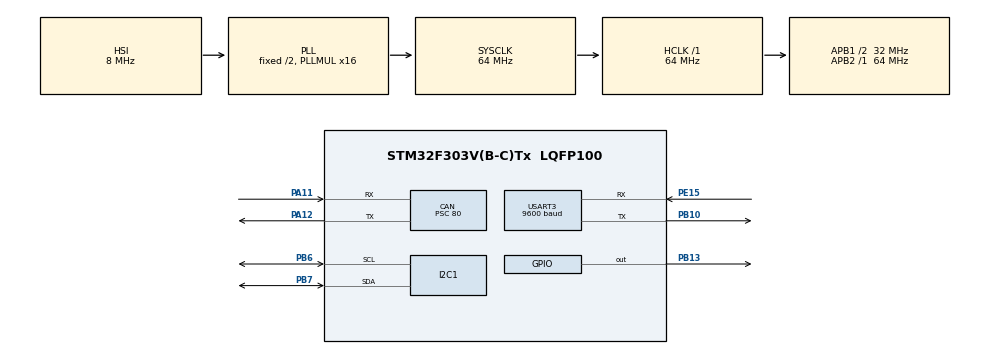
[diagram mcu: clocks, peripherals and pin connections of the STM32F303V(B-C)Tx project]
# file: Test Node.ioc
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CAN.ABOM=ENABLE
CAN.AWUM=ENABLE
CAN.BS1=CAN_BS1_6TQ
CAN.CalculateTimeQuantum=2500.0
CAN.Mode=CAN_MODE_NORMAL
CAN.NART=ENABLE
CAN.Prescaler=80
Mcu.Family=STM32F3
Mcu.Name=STM32F303V(B-C)Tx
Mcu.Package=LQFP100
NVIC.PriorityGroup=NVIC_PRIORITYGROUP_4
NVIC.USB_HP_CAN_TX_IRQn=true\:0\:0\:false\:false\:true\:true
NVIC.USB_LP_CAN_RX0_IRQn=true\:0\:0\:false\:false\:true\:true
PA11.Mode=Master
PA11.Signal=CAN_RX
PA12.Mode=Master
PA12.Signal=CAN_TX
PB10.Mode=Asynchronous
PB10.Signal=USART3_TX
PB13.Signal=GPIO_Output
PB6.Mode=I2C
PB6.Signal=I2C1_SCL
PB7.Mode=I2C
PB7.Signal=I2C1_SDA
PE15.Mode=Asynchronous
PE15.Signal=USART3_RX
ProjectManager.HeapSize=0x200
ProjectManager.StackSize=0x400
ProjectManager.TargetToolchain=TrueSTUDIO
RCC.AHBFreq_Value=64000000
RCC.APB1CLKDivider=RCC_HCLK_DIV2
RCC.APB1Freq_Value=32000000
RCC.APB1TimFreq_Value=64000000
RCC.APB2Freq_Value=64000000
RCC.APB2TimFreq_Value=64000000
RCC.CortexFreq_Value=64000000
RCC.HCLKFreq_Value=64000000
RCC.HSE_VALUE=8000000
RCC.HSI_VALUE=8000000
RCC.LSE_VALUE=32768
RCC.PLLMUL=RCC_PLL_MUL16
RCC.SYSCLKFreq_VALUE=64000000
RCC.SYSCLKSourceVirtual=RCC_SYSCLKSOURCE_PLLCLK
RCC.TIM1Selection=RCC_TIM1CLK_PLLCLK
RCC.USBFreq_Value=64000000
USART3.BaudRate=9600
USART3.VirtualMode-Asynchronous=VM_ASYNC
board=custom

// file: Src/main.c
/* USER CODE BEGIN Header */
/**
 ******************************************************************************
 * @file           : main.c
 * @brief          : Main program body
 ******************************************************************************
 ** This notice applies to any and all portions of this file
 * that are not between comment pairs USER CODE BEGIN and
 * USER CODE END. Other portions of this file, whether
 * inserted by the user or by software development tools
 * are owned by their respective copyright owners.
 *
 * COPYRIGHT(c) 2019 STMicroelectronics
 *
 * Redistribution and use in source and binary forms, with or without modification,
 * are permitted provided that the following conditions are met:
 *   1. Redistributions of source code must retain the above copyright notice,
 *      this list of conditions and the following disclaimer.
 *   2. Redistributions in binary form must reproduce the above copyright notice,
 *      this list of conditions and the following disclaimer in the documentation
 *      and/or other materials provided with the distribution.
 *   3. Neither the name of STMicroelectronics nor the names of its contributors
 *      may be used to endorse or promote products derived from this software
 *      without specific prior written permission.
 *
 * THIS SOFTWARE IS PROVIDED BY THE COPYRIGHT HOLDERS AND CONTRIBUTORS "AS IS"
 * AND ANY EXPRESS OR IMPLIED WARRANTIES, INCLUDING, BUT NOT LIMITED TO, THE
 * IMPLIED WARRANTIES OF MERCHANTABILITY AND FITNESS FOR A PARTICULAR PURPOSE ARE
 * DISCLAIMED. IN NO EVENT SHALL THE COPYRIGHT HOLDER OR CONTRIBUTORS BE LIABLE
 * FOR ANY DIRECT, INDIRECT, INCIDENTAL, SPECIAL, EXEMPLARY, OR CONSEQUENTIAL
 * DAMAGES (INCLUDING, BUT NOT LIMITED TO, PROCUREMENT OF SUBSTITUTE GOODS OR
 * SERVICES; LOSS OF USE, DATA, OR PROFITS; OR BUSINESS INTERRUPTION) HOWEVER
 * CAUSED AND ON ANY THEORY OF LIABILITY, WHETHER IN CONTRACT, STRICT LIABILITY,
 * OR TORT (INCLUDING NEGLIGENCE OR OTHERWISE) ARISING IN ANY WAY OUT OF THE USE
 * OF THIS SOFTWARE, EVEN IF ADVISED OF THE POSSIBILITY OF SUCH DAMAGE.
 *
 ******************************************************************************
 */
/* USER CODE END Header */

#include "main.h"
#include "can.h"
#include "i2c.h"
#include "usart.h"
#include "gpio.h"

/* USER CODE BEGIN PV */
extern CAN_HandleTypeDef hcan;
extern CAN_TxHeaderTypeDef TxHeader;
extern CAN_RxHeaderTypeDef RxHeader;
extern uint8_t TxData[8];
extern uint8_t RxData[9];
extern uint8_t RxPowerData[9];
extern uint32_t TxMailbox;
extern uint8_t test;
extern union battery_u currentReading;
extern union battery_u voltageReading;
extern uint8_t canReceived;

uint8_t batmonitor = 0;

/* USER CODE END PV */

void SystemClock_Config(void);

int main(void)
{

  /* MCU Configuration--------------------------------------------------------*/

  /* Reset of all peripherals, Initializes the Flash interface and the Systick. */
  HAL_Init();

  /* Configure the system clock */
  SystemClock_Config();

  /* Initialize all configured peripherals */
  MX_GPIO_Init();
  MX_USART3_UART_Init();
  MX_CAN_Init();
  MX_I2C1_Init();

  /* Infinite loop */
  /* USER CODE BEGIN WHILE */
	uint8_t data = 0xAA;
	uint8_t data2 = 0x32;
//	TxData[0] = 0xAA;
//	for (int i = 1; i < 8; i++) {
//		TxData[i] = TxData[i-1];
//	}
//	TxData[0] = 'R';
//	TxData[1] = 'o';
//	TxData[2] = 's';
//	TxData[3] = 'e';
//	TxData[4] = 'm';
//	TxData[5] = 'o';
//	TxData[6] = 'n';
//	TxData[7] = 'd';
	//InitUSBtoCAN();
	memset(RxData, 0, sizeof(RxData));
	memset(RxData, 0, sizeof(RxPowerData));
	LCD_init();
	LCD_clear();
	LCD_string("USBtoCAN MSG:");
	//float testnum = 1.33f;
	canSetup(0x01, DEFAULT_DATA_LENGTH);
	batmonitor = 0;
	while (1) {
    /* USER CODE END WHILE */

    /* USER CODE BEGIN 3 */
		//USBtoCAN_RUN();
//		batmonitor = 1;
//		canSetup(0x0A, DEFAULT_DATA_LENGTH);
//		LCD_cursor_home();
//		LCD_clear();
//		LCD_string("Voltage:");
//		LCD_print_float(currentReading.Diagnostic, 1);
//		HAL_Delay(2000);
//		LCD_cursor_home();
//		LCD_clear();
//		LCD_string("Current:");
//		LCD_print_float(voltageReading.Diagnostic, 0);
//		HAL_Delay(2000);
//		batmonitor = 0;
//		for (int i = 0; i < 6; i++) {
//			LCD_cursor_home();
//			LCD_clear();
//			LCD_string("USBtoCAN MSG:");
//			canSetup(0x01, DEFAULT_DATA_LENGTH);
//			HAL_CAN_AddTxMessage(&hcan, &TxHeader, RxData, &TxMailbox);
//			LCD_line2();
//			RxData[9] = 0;
//			LCD_string(RxData);
//			HAL_Delay(500);
//		}
		if (canReceived) {
			TxHeader.DLC = RxHeader.DLC;
			HAL_CAN_AddTxMessage(&hcan, &TxHeader, RxData, &TxMailbox);
//			LCD_line2();
//			LCD_string("          ");
//			RxData[RxHeader.DLC] = 0;
//			LCD_line2();
//			LCD_string(RxData);
			HAL_GPIO_TogglePin(GPIOB, GPIO_PIN_13);
			canReceived = 0;
		}
	}
  /* USER CODE END 3 */
}

void SystemClock_Config(void)
{
  RCC_OscInitTypeDef RCC_OscInitStruct = {0};
  RCC_ClkInitTypeDef RCC_ClkInitStruct = {0};
  RCC_PeriphCLKInitTypeDef PeriphClkInit = {0};

  /**Initializes the CPU, AHB and APB busses clocks
  */
  RCC_OscInitStruct.OscillatorType = RCC_OSCILLATORTYPE_HSI;
  RCC_OscInitStruct.HSIState = RCC_HSI_ON;
  RCC_OscInitStruct.HSICalibrationValue = RCC_HSICALIBRATION_DEFAULT;
  RCC_OscInitStruct.PLL.PLLState = RCC_PLL_ON;
  RCC_OscInitStruct.PLL.PLLSource = RCC_PLLSOURCE_HSI;
  RCC_OscInitStruct.PLL.PLLMUL = RCC_PLL_MUL16;
  if (HAL_RCC_OscConfig(&RCC_OscInitStruct) != HAL_OK)
  {
    Error_Handler();
  }
  /**Initializes the CPU, AHB and APB busses clocks
  */
  RCC_ClkInitStruct.ClockType = RCC_CLOCKTYPE_HCLK|RCC_CLOCKTYPE_SYSCLK
                              |RCC_CLOCKTYPE_PCLK1|RCC_CLOCKTYPE_PCLK2;
  RCC_ClkInitStruct.SYSCLKSource = RCC_SYSCLKSOURCE_PLLCLK;
  RCC_ClkInitStruct.AHBCLKDivider = RCC_SYSCLK_DIV1;
  RCC_ClkInitStruct.APB1CLKDivider = RCC_HCLK_DIV2;
  RCC_ClkInitStruct.APB2CLKDivider = RCC_HCLK_DIV1;

  if (HAL_RCC_ClockConfig(&RCC_ClkInitStruct, FLASH_LATENCY_2) != HAL_OK)
  {
    Error_Handler();
  }
  PeriphClkInit.PeriphClockSelection = RCC_PERIPHCLK_USART3|RCC_PERIPHCLK_I2C1;
  PeriphClkInit.Usart3ClockSelection = RCC_USART3CLKSOURCE_PCLK1;
  PeriphClkInit.I2c1ClockSelection = RCC_I2C1CLKSOURCE_HSI;
  if (HAL_RCCEx_PeriphCLKConfig(&PeriphClkInit) != HAL_OK)
  {
    Error_Handler();
  }
}

void Error_Handler(void)
{
}

/************************ (C) COPYRIGHT STMicroelectronics *****END OF FILE****/
